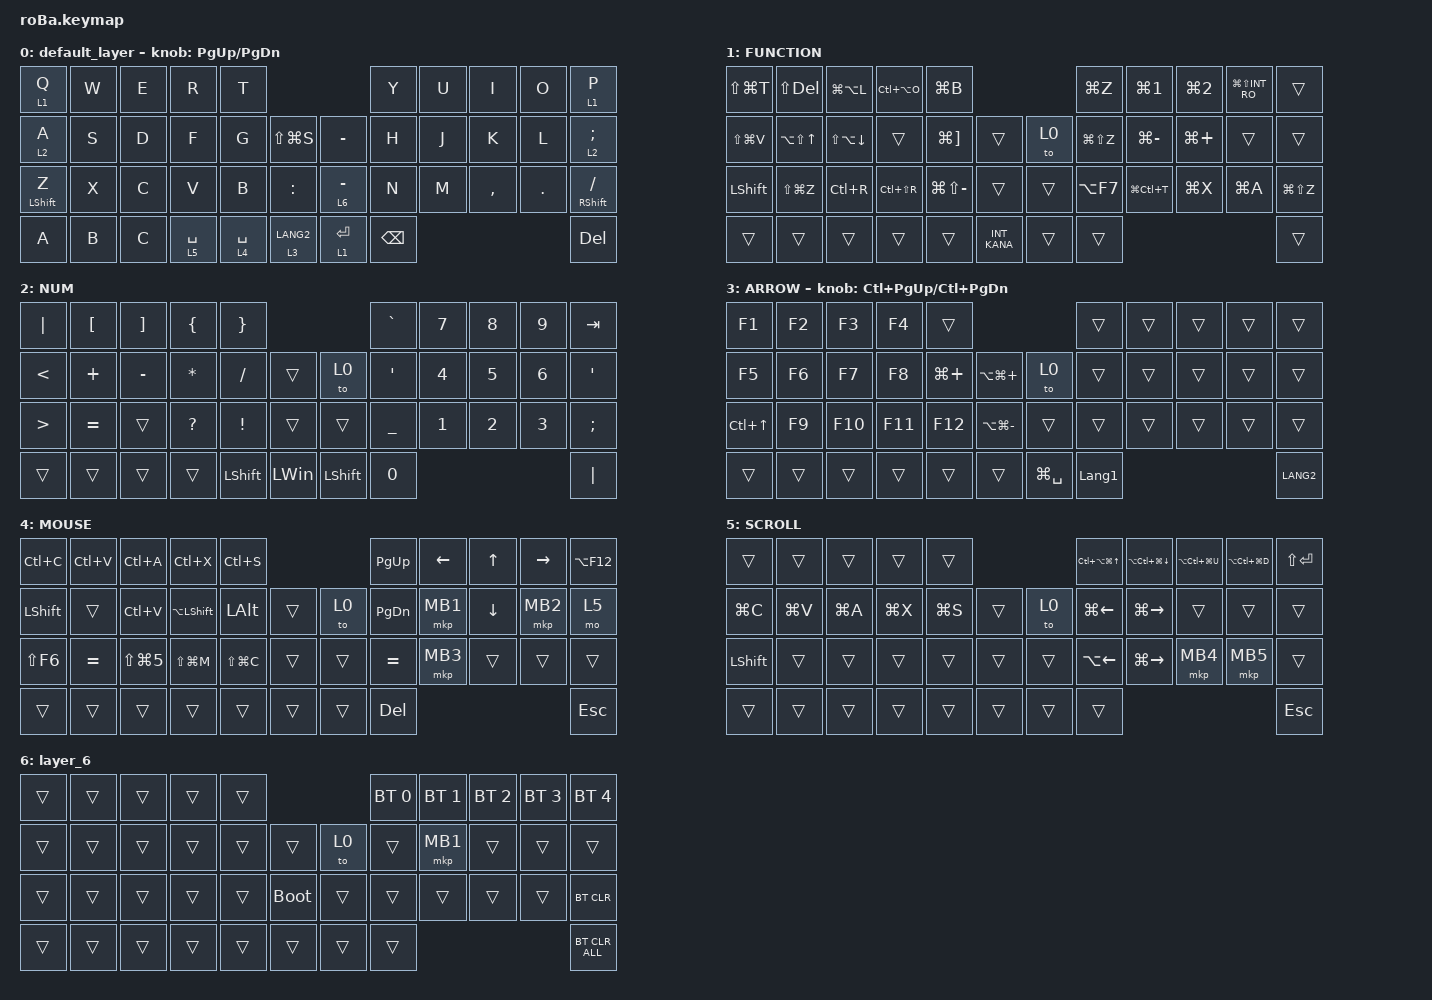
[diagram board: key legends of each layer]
#include <behaviors.dtsi>
#include <dt-bindings/zmk/bt.h>
#include <dt-bindings/zmk/keys.h>
#include <dt-bindings/zmk/pointing.h>

&mt {
    flavor = "balanced";
    quick-tap-ms = <0>;
};

&trackball {
    automouse-layer = <4>;
    scroll-layers = <5>;

    // arrows {
    //     layers = <3>;
    //     bindings =
    //         <&kp RIGHT_ARROW>,
    //         <&kp LEFT_ARROW>,
    //         <&kp UP_ARROW>,
    //         <&kp DOWN_ARROW>;
    //     tick = <10>;
    //     wait-ms = <5>;
    //     tap-ms = <5>;
    // };
};

/ {
    combos {
        compatible = "zmk,combos";

        tab {
            bindings = <&kp TAB>;
            key-positions = <11 12>;
        };

        shift_tab {
            bindings = <&kp LS(TAB)>;
            key-positions = <12 13>;
        };

        muhennkann {
            bindings = <&to_layer_0 INT_MUHENKAN>;
            key-positions = <11 10>;
        };

        double_quotation {
            bindings = <&kp DOUBLE_QUOTES>;
            key-positions = <20 21>;
        };

        eq {
            bindings = <&kp EQUAL>;
            key-positions = <24 25>;
        };
    };

    macros {
        to_layer_0: to_layer_0 {
            compatible = "zmk,behavior-macro-one-param";
            #binding-cells = <1>;
            bindings = <&to 0 &macro_param_1to1 &kp MACRO_PLACEHOLDER>;
            label = "TO_LAYER_0";
        };
    };

    behaviors {
        lt_to_layer_0: lt_to_layer_0 {
            compatible = "zmk,behavior-hold-tap";
            label = "LAYER_TAP_TO_0";
            bindings = <&mo>, <&to_layer_0>;

            #binding-cells = <2>;
            tapping-term-ms = <200>;
        };
    };

    keymap {
        compatible = "zmk,keymap";

        default_layer {
            bindings = <
&lt 1 Q           &kp W         &kp E      &kp R        &kp T                                        &kp Y          &kp U  &kp I      &kp O    &lt 1 P
&lt 2 A           &kp S         &kp D      &kp F        &kp G        &kp LS(LG(S))      &kp MINUS    &kp H          &kp J  &kp K      &kp L    &lt 2 SEMICOLON
&mt LEFT_SHIFT Z  &kp X         &kp C      &kp V        &kp B        &kp COLON          &lt 6 MINUS  &kp N          &kp M  &kp COMMA  &kp DOT  &mt RIGHT_SHIFT SLASH
&kp A             &kp B         &kp C      &lt 5 SPACE  &lt 4 SPACE  &lt 3 LANG2        &lt 1 ENTER  &kp BACKSPACE                             &kp DELETE
            >;

            sensor-bindings = <&inc_dec_kp PG_UP PAGE_DOWN>;
        };

        FUNCTION {
            bindings = <
&kp LS(LG(T))   &kp LS(DEL)           &kp LG(LA(L))           &kp LC(LA(O))  &kp LG(B)                                        &kp LG(Z)      &kp LG(NUMBER_1)  &kp LG(NUMBER_2)  &kp LG(LS(INT_RO))  &trans
&kp LS(LG(V))   &kp LA(LS(UP_ARROW))  &kp LS(LA(DOWN_ARROW))  &trans         &kp LG(RIGHT_BRACKET)  &trans            &to 0   &kp LG(LS(Z))  &kp LG(MINUS)     &kp LG(PLUS)      &trans              &trans
&kp LEFT_SHIFT  &kp LS(LG(Z))         &kp LC(R)               &kp LC(LS(R))  &kp LG(LS(MINUS))      &trans            &trans  &kp LA(F7)     &kp LG(LC(T))     &kp LG(X)         &kp LG(A)           &kp LG(LS(Z))
&trans          &trans                &trans                  &trans         &trans                 &kp INT_KANA      &trans  &trans                                                                 &trans
            >;
        };

        NUM {
            bindings = <
&kp PIPE          &kp LEFT_BRACKET  &kp RIGHT_BRACKET  &kp LEFT_BRACE  &kp RIGHT_BRACE                                    &kp GRAVE       &kp N7        &kp N8        &kp N9        &kp TAB
&kp LESS_THAN     &kp PLUS          &kp MINUS          &kp ASTERISK    &kp SLASH        &trans            &to 0           &kp SQT         &kp NUMBER_4  &kp N5        &kp NUMBER_6  &kp SQT
&kp GREATER_THAN  &kp EQUAL         &trans             &kp QUESTION    &kp EXCLAMATION  &trans            &trans          &kp UNDERSCORE  &kp NUMBER_1  &kp NUMBER_2  &kp NUMBER_3  &kp SEMICOLON
&trans            &trans            &trans             &trans          &kp LEFT_SHIFT   &kp LEFT_WIN      &kp LEFT_SHIFT  &kp N0                                                    &kp PIPE
            >;
        };

        ARROW {
            bindings = <
&kp F1      &kp F2  &kp F3   &kp F4   &trans                                              &trans          &trans  &trans  &trans  &trans
&kp F5      &kp F6  &kp F7   &kp F8   &kp LG(PLUS)  &kp LA(LG(PLUS))       &to 0          &trans          &trans  &trans  &trans  &trans
&kp LC(UP)  &kp F9  &kp F10  &kp F11  &kp F12       &kp LA(LG(MINUS))      &trans         &trans          &trans  &trans  &trans  &trans
&trans      &trans  &trans   &trans   &trans        &trans                 &kp LG(SPACE)  &kp LANGUAGE_1                          &kp LANG2
            >;

            sensor-bindings = <&inc_dec_kp LC(PAGE_UP) LC(PAGE_DOWN)>;
        };

        MOUSE {
            bindings = <
&kp LC(C)       &kp LC(V)  &kp LC(A)       &kp LC(X)           &kp LC(S)                          &kp PAGE_UP    &kp LEFT_ARROW  &kp UP_ARROW  &kp RIGHT_ARROW  &kp LA(F12)
&kp LEFT_SHIFT  &trans     &kp LC(V)       &kp LA(LEFT_SHIFT)  &kp LEFT_ALT   &trans      &to 0   &kp PAGE_DOWN  &mkp MB1        &kp DOWN      &mkp MB2         &mo 5
&kp LS(F6)      &kp EQUAL  &kp LS(LG(N5))  &kp LS(LG(M))       &kp LS(LG(C))  &trans      &trans  &kp EQUAL      &mkp MB3        &trans        &trans           &trans
&trans          &trans     &trans          &trans              &trans         &trans      &trans  &kp DELETE                                                    &kp ESC
            >;
        };

        SCROLL {
            bindings = <
&trans          &trans     &trans     &trans     &trans                         &kp LC(LA(LG(UP)))  &kp LA(LC(LG(DOWN)))  &kp LA(LC(LG(U)))  &kp LA(LC(LG(D)))  &kp LS(ENTER)
&kp LG(C)       &kp LG(V)  &kp LG(A)  &kp LG(X)  &kp LG(S)  &trans      &to 0   &kp LG(LEFT)        &kp LG(RIGHT_ARROW)   &trans             &trans             &trans
&kp LEFT_SHIFT  &trans     &trans     &trans     &trans     &trans      &trans  &kp LA(LEFT_ARROW)  &kp LG(RIGHT_ARROW)   &mkp MB4           &mkp MB5           &trans
&trans          &trans     &trans     &trans     &trans     &trans      &trans  &trans                                                                          &kp ESC
            >;
        };

        layer_6 {
            bindings = <
&trans  &trans  &trans  &trans  &trans                           &bt BT_SEL 0  &bt BT_SEL 1  &bt BT_SEL 2  &bt BT_SEL 3  &bt BT_SEL 4
&trans  &trans  &trans  &trans  &trans  &trans           &to 0   &trans        &mkp MB1      &trans        &trans        &trans
&trans  &trans  &trans  &trans  &trans  &bootloader      &trans  &trans        &trans        &trans        &trans        &bt BT_CLR
&trans  &trans  &trans  &trans  &trans  &trans           &trans  &trans                                                  &bt BT_CLR_ALL
            >;
        };
    };
};
